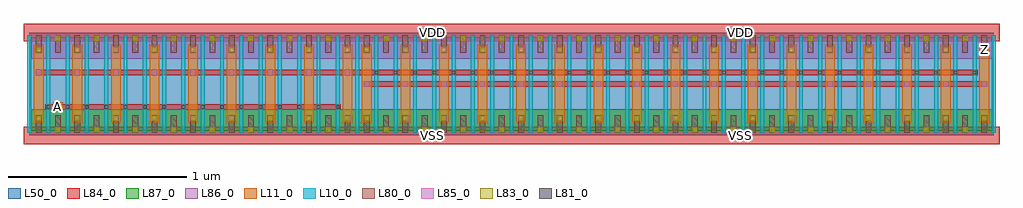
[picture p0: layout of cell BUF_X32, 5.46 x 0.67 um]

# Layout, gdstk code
import gdstk
lib = gdstk.Library(unit=1e-6, precision=1e-09)
def R(c, l, rs):  # rectangles x0, y0, x1, y1
    for r in rs: c.add(gdstk.rectangle(r[:2], r[2:], *l))
def A(c, l, x, y, w, h, nx, ny, dx, dy):  # array of equal rectangles
    R(c, l, [(x+i*dx, y+j*dy, x+i*dx+w, y+j*dy+h) for i in range(nx) for j in range(ny)])
L10_0 = (10, 0)
L11_0 = (11, 0)
L50_0 = (50, 0)
L80_0 = (80, 0)
L81_0 = (81, 0)
L83_0 = (83, 0)
L84_0 = (84, 0)
L85_0 = (85, 0)
L86_0 = (86, 0)
L87_0 = (87, 0)

buf_x32 = lib.new_cell('BUF_X32')
A(buf_x32, L10_0, -0.197, 0.157, 0.022, 0.544, 5, 1, 0.108, 0)
A(buf_x32, L10_0, 0.343, 0.157, 0.022, 0.544, 5, 1, 0.108, 0)
A(buf_x32, L10_0, 0.775, 0.157, 0.022, 0.544, 4, 1, 0.108, 0)
A(buf_x32, L10_0, 1.207, 0.157, 0.022, 0.544, 5, 1, 0.108, 0)
A(buf_x32, L10_0, 1.639, 0.157, 0.022, 0.544, 5, 1, 0.108, 0)
A(buf_x32, L10_0, 2.179, 0.157, 0.022, 0.544, 4, 1, 0.108, 0)
A(buf_x32, L10_0, 2.611, 0.157, 0.022, 0.544, 4, 1, 0.108, 0)
A(buf_x32, L10_0, 3.043, 0.157, 0.022, 0.544, 5, 1, 0.108, 0)
A(buf_x32, L10_0, 3.475, 0.157, 0.022, 0.544, 4, 1, 0.108, 0)
A(buf_x32, L10_0, 3.907, 0.157, 0.022, 0.544, 4, 1, 0.108, 0)
A(buf_x32, L10_0, 4.339, 0.157, 0.022, 0.544, 4, 1, 0.108, 0)
A(buf_x32, L10_0, 4.771, 0.157, 0.022, 0.544, 5, 1, 0.108, 0)
R(buf_x32, L10_0, [(0.235,0.157,0.257,0.701), (0.343,0.157,0.365,0.701), (0.775,0.157,0.797,0.701), (1.099,0.157,1.121,0.701), (1.207,0.157,1.229,0.701), (2.071,0.157,2.093,0.701), (2.179,0.157,2.201,0.701), (2.503,0.157,2.525,0.701), (2.611,0.157,2.633,0.701), (2.935,0.157,2.957,0.701), (3.043,0.157,3.065,0.701), (3.799,0.157,3.821,0.701), (3.907,0.157,3.929,0.701), (4.231,0.157,4.253,0.701), (4.339,0.157,4.361,0.701), (4.663,0.157,4.685,0.701), (4.771,0.157,4.793,0.701)])
A(buf_x32, L11_0, -0.159, 0.21, 0.054, 0.438, 3, 1, 0.216, 0)
A(buf_x32, L11_0, 0.273, 0.21, 0.054, 0.438, 3, 1, 0.216, 0)
A(buf_x32, L11_0, 0.705, 0.21, 0.054, 0.438, 3, 1, 0.216, 0)
A(buf_x32, L11_0, 1.137, 0.21, 0.054, 0.438, 3, 1, 0.216, 0)
A(buf_x32, L11_0, 1.677, 0.21, 0.054, 0.438, 3, 1, 0.216, 0)
A(buf_x32, L11_0, 2.109, 0.21, 0.054, 0.438, 3, 1, 0.216, 0)
A(buf_x32, L11_0, 2.541, 0.21, 0.054, 0.438, 3, 1, 0.216, 0)
A(buf_x32, L11_0, 2.973, 0.21, 0.054, 0.438, 3, 1, 0.216, 0)
A(buf_x32, L11_0, 3.405, 0.21, 0.054, 0.438, 3, 1, 0.216, 0)
A(buf_x32, L11_0, 3.837, 0.21, 0.054, 0.438, 3, 1, 0.216, 0)
A(buf_x32, L11_0, 4.269, 0.21, 0.054, 0.438, 3, 1, 0.216, 0)
A(buf_x32, L11_0, 4.701, 0.21, 0.054, 0.438, 3, 1, 0.216, 0)
R(buf_x32, L11_0, [(-0.051,0.274,0.003,0.328)])
R(buf_x32, L50_0, [(-0.186,0.141,5.214,0.717)])
A(buf_x32, L80_0, -0.148, 0.157, 0.032, 0.096, 5, 2, 0.108, 0.448)
A(buf_x32, L80_0, 0.284, 0.157, 0.032, 0.096, 5, 2, 0.108, 0.448)
A(buf_x32, L80_0, 0.716, 0.157, 0.032, 0.096, 5, 2, 0.108, 0.448)
A(buf_x32, L80_0, 1.148, 0.157, 0.032, 0.096, 10, 2, 0.108, 0.448)
A(buf_x32, L80_0, 2.12, 0.157, 0.032, 0.096, 5, 2, 0.108, 0.448)
A(buf_x32, L80_0, 2.552, 0.157, 0.032, 0.096, 5, 2, 0.108, 0.448)
A(buf_x32, L80_0, 2.984, 0.157, 0.032, 0.096, 5, 2, 0.108, 0.448)
A(buf_x32, L80_0, 3.416, 0.157, 0.032, 0.096, 5, 2, 0.108, 0.448)
A(buf_x32, L80_0, 3.848, 0.157, 0.032, 0.096, 5, 2, 0.108, 0.448)
A(buf_x32, L80_0, 4.28, 0.157, 0.032, 0.096, 5, 2, 0.108, 0.448)
A(buf_x32, L80_0, 4.712, 0.157, 0.032, 0.096, 5, 2, 0.108, 0.448)
A(buf_x32, L81_0, -0.088, 0.291, 0.02, 0.02, 16, 1, 0.108, 0)
A(buf_x32, L81_0, 1.748, 0.483, 0.02, 0.02, 32, 1, 0.108, 0)
A(buf_x32, L83_0, -0.038, 0.159, 0.028, 0.028, 8, 2, 0.216, 0.512)
A(buf_x32, L83_0, 1.798, 0.159, 0.028, 0.028, 16, 2, 0.216, 0.512)
A(buf_x32, L83_0, -0.146, 0.223, 0.028, 0.028, 3, 2, 0.216, 0.384)
A(buf_x32, L83_0, 0.286, 0.223, 0.028, 0.028, 3, 2, 0.216, 0.384)
A(buf_x32, L83_0, 0.718, 0.223, 0.028, 0.028, 3, 2, 0.216, 0.384)
A(buf_x32, L83_0, 1.15, 0.223, 0.028, 0.028, 3, 2, 0.216, 0.384)
A(buf_x32, L83_0, 1.69, 0.223, 0.028, 0.028, 3, 2, 0.216, 0.384)
A(buf_x32, L83_0, 2.122, 0.223, 0.028, 0.028, 3, 2, 0.216, 0.384)
A(buf_x32, L83_0, 2.554, 0.223, 0.028, 0.028, 3, 2, 0.216, 0.384)
A(buf_x32, L83_0, 2.986, 0.223, 0.028, 0.028, 3, 2, 0.216, 0.384)
A(buf_x32, L83_0, 3.418, 0.223, 0.028, 0.028, 3, 2, 0.216, 0.384)
A(buf_x32, L83_0, 3.85, 0.223, 0.028, 0.028, 3, 2, 0.216, 0.384)
A(buf_x32, L83_0, 4.282, 0.223, 0.028, 0.028, 3, 2, 0.216, 0.384)
A(buf_x32, L83_0, 4.714, 0.223, 0.028, 0.028, 3, 2, 0.216, 0.384)
A(buf_x32, L84_0, 2.051, 0.093, 0.602, 0.096, 3, 2, 0.432, 0.576)
A(buf_x32, L84_0, -0.148, 0.221, 0.032, 0.032, 3, 2, 0.216, 0.384)
A(buf_x32, L84_0, 0.284, 0.221, 0.032, 0.032, 3, 2, 0.216, 0.384)
A(buf_x32, L84_0, 0.716, 0.221, 0.032, 0.032, 3, 2, 0.216, 0.384)
A(buf_x32, L84_0, 1.148, 0.221, 0.032, 0.032, 3, 2, 0.216, 0.384)
A(buf_x32, L84_0, 1.688, 0.221, 0.032, 0.032, 3, 2, 0.216, 0.384)
A(buf_x32, L84_0, 2.12, 0.221, 0.032, 0.032, 3, 2, 0.216, 0.384)
A(buf_x32, L84_0, 2.552, 0.221, 0.032, 0.032, 3, 2, 0.216, 0.384)
A(buf_x32, L84_0, 2.984, 0.221, 0.032, 0.032, 3, 2, 0.216, 0.384)
A(buf_x32, L84_0, 3.416, 0.221, 0.032, 0.032, 3, 2, 0.216, 0.384)
A(buf_x32, L84_0, 3.848, 0.221, 0.032, 0.032, 3, 2, 0.216, 0.384)
A(buf_x32, L84_0, 4.28, 0.221, 0.032, 0.032, 3, 2, 0.216, 0.384)
A(buf_x32, L84_0, 4.712, 0.221, 0.032, 0.032, 3, 2, 0.216, 0.384)
A(buf_x32, L84_0, 1.688, 0.413, 0.464, 0.032, 8, 1, 0.432, 0)
A(buf_x32, L84_0, -0.148, 0.477, 0.464, 0.032, 4, 1, 0.432, 0)
R(buf_x32, L84_0, [(-0.217,0.093,0.385,0.189), (0.215,0.093,0.817,0.189), (0.755,0.093,5.245,0.189), (3.779,0.093,4.381,0.189), (4.211,0.093,4.813,0.189), (-0.094,0.285,0.262,0.317), (0.223,0.285,0.694,0.317), (0.608,0.285,1.126,0.317), (1.087,0.285,1.558,0.317), (0.695,0.477,5.122,0.509), (2.059,0.477,2.636,0.509), (2.606,0.477,2.962,0.509), (2.923,0.477,3.394,0.509), (3.787,0.477,4.364,0.509), (4.334,0.477,4.69,0.509), (4.651,0.477,5.122,0.509), (-0.217,0.669,0.385,0.765), (0.215,0.669,0.817,0.765), (0.755,0.669,5.245,0.765), (3.779,0.669,4.381,0.765), (4.211,0.669,4.813,0.765)])
A(buf_x32, L85_0, -0.147, 0.222, 0.03, 0.03, 3, 2, 0.216, 0.256)
A(buf_x32, L85_0, 0.285, 0.222, 0.03, 0.03, 3, 2, 0.216, 0.256)
A(buf_x32, L85_0, 0.717, 0.222, 0.03, 0.03, 3, 2, 0.216, 0.256)
A(buf_x32, L85_0, 1.149, 0.222, 0.03, 0.03, 3, 2, 0.216, 0.256)
A(buf_x32, L85_0, 1.689, 0.222, 0.03, 0.03, 3, 3, 0.216, 0.192)
A(buf_x32, L85_0, 2.121, 0.222, 0.03, 0.03, 3, 3, 0.216, 0.192)
A(buf_x32, L85_0, 2.553, 0.222, 0.03, 0.03, 3, 3, 0.216, 0.192)
A(buf_x32, L85_0, 2.985, 0.222, 0.03, 0.03, 3, 3, 0.216, 0.192)
A(buf_x32, L85_0, 3.417, 0.222, 0.03, 0.03, 3, 3, 0.216, 0.192)
A(buf_x32, L85_0, 3.849, 0.222, 0.03, 0.03, 3, 3, 0.216, 0.192)
A(buf_x32, L85_0, 4.281, 0.222, 0.03, 0.03, 3, 3, 0.216, 0.192)
A(buf_x32, L85_0, 4.713, 0.222, 0.03, 0.03, 3, 3, 0.216, 0.192)
A(buf_x32, L85_0, -0.147, 0.606, 0.03, 0.03, 3, 1, 0.216, 0)
A(buf_x32, L85_0, 0.285, 0.606, 0.03, 0.03, 3, 1, 0.216, 0)
A(buf_x32, L85_0, 0.717, 0.606, 0.03, 0.03, 3, 1, 0.216, 0)
A(buf_x32, L85_0, 1.149, 0.606, 0.03, 0.03, 3, 1, 0.216, 0)
R(buf_x32, L85_0, [(-0.039,0.286,-0.009,0.316)])
A(buf_x32, L86_0, 1.661, 0.571, 0.518, 0.12, 4, 1, 0.432, 0)
R(buf_x32, L86_0, [(-0.175,0.571,0.343,0.691), (0.257,0.571,5.214,0.691), (0.689,0.571,1.207,0.691), (3.821,0.571,4.339,0.691), (4.253,0.571,4.771,0.691)])
A(buf_x32, L87_0, 1.661, 0.167, 0.518, 0.12, 4, 1, 0.432, 0)
R(buf_x32, L87_0, [(-0.175,0.167,0.343,0.287), (0.257,0.167,5.214,0.287), (0.689,0.167,1.207,0.287), (3.821,0.167,4.339,0.287), (4.253,0.167,4.771,0.287)])
buf_x32.add(gdstk.Label('VSS', (3.798,0.141), layer=88, texttype=0))
buf_x32.add(gdstk.Label('VDD', (3.798,0.717), layer=88, texttype=0))
buf_x32.add(gdstk.Label('VSS', (2.07,0.141), layer=88, texttype=0))
buf_x32.add(gdstk.Label('VDD', (2.07,0.717), layer=88, texttype=0))
buf_x32.add(gdstk.Label('Z', (5.16,0.621), layer=31, texttype=0))
buf_x32.add(gdstk.Label('A', (-0.024,0.301), layer=31, texttype=0))

lib.write_gds('BUF_X32.gds')
